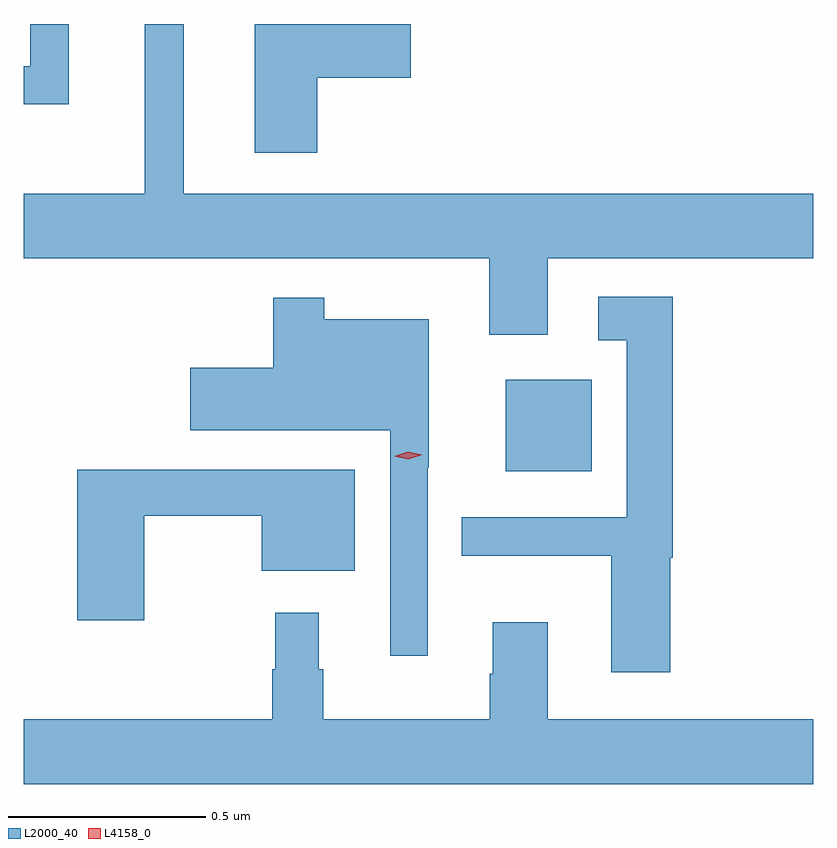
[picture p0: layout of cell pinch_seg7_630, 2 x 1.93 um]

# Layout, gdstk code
import gdstk
lib = gdstk.Library(unit=1e-6, precision=1e-09)
def R(c, l, rs):  # rectangles x0, y0, x1, y1
    for r in rs: c.add(gdstk.rectangle(r[:2], r[2:], *l))
def P(c, l, *ps):  # polygons
    for p in ps: c.add(gdstk.Polygon(p, *l))
L2000_40 = (2000, 40)
L4158_0 = (4158, 0)

pinch_seg7_630 = lib.new_cell('pinch_seg7_630')
R(pinch_seg7_630, L2000_40, [(236.126,1004.072,236.344,1004.305)])
P(pinch_seg7_630, L2000_40, [(235.019,1005.206),(234.921,1005.206),(234.921,1005.099),(234.905,1005.099),(234.905,1005.003),(235.019,1005.003)],
  [(235.649,1005.07),(235.885,1005.07),(235.885,1005.206),(235.49,1005.206),(235.49,1004.88),(235.649,1004.88)],
  [(235.211,1005.206),(235.211,1004.776),(234.905,1004.776),(234.905,1004.612),(236.084,1004.612),(236.084,1004.418),(236.233,1004.418),(236.233,1004.612),(236.905,1004.612),(236.905,1004.776),(235.31,1004.776),(235.31,1005.206)],
  [(236.543,1003.853),(236.549,1003.853),(236.549,1004.515),(236.361,1004.515),(236.361,1004.405),(236.433,1004.405),(236.433,1003.956),(236.014,1003.956),(236.014,1003.859),(236.393,1003.859),(236.393,1003.563),(236.543,1003.563)],
  [(235.929,1004.081),(235.931,1004.081),(235.931,1004.458),(235.666,1004.458),(235.666,1004.512),(235.537,1004.512),(235.537,1004.335),(235.326,1004.335),(235.326,1004.177),(235.833,1004.177),(235.833,1003.605),(235.929,1003.605)],
  [(235.21,1003.96),(235.508,1003.96),(235.508,1003.82),(235.744,1003.82),(235.744,1004.076),(235.04,1004.076),(235.04,1003.695),(235.21,1003.695)],
  [(236.905,1003.444),(236.233,1003.444),(236.233,1003.69),(236.093,1003.69),(236.093,1003.559),(236.086,1003.559),(236.086,1003.444),(235.663,1003.444),(235.663,1003.571),(235.652,1003.571),(235.652,1003.714),(235.542,1003.714),(235.542,1003.571),(235.534,1003.571),(235.534,1003.444),(234.905,1003.444),(234.905,1003.28),(236.905,1003.28)])
P(pinch_seg7_630, L4158_0, [(235.879,1004.103),(235.843,1004.111),(235.843,1004.111),(235.843,1004.111),(235.878,1004.122),(235.914,1004.114),(235.914,1004.114),(235.914,1004.114)])

lib.write_gds('pinch_seg7_630.gds')
